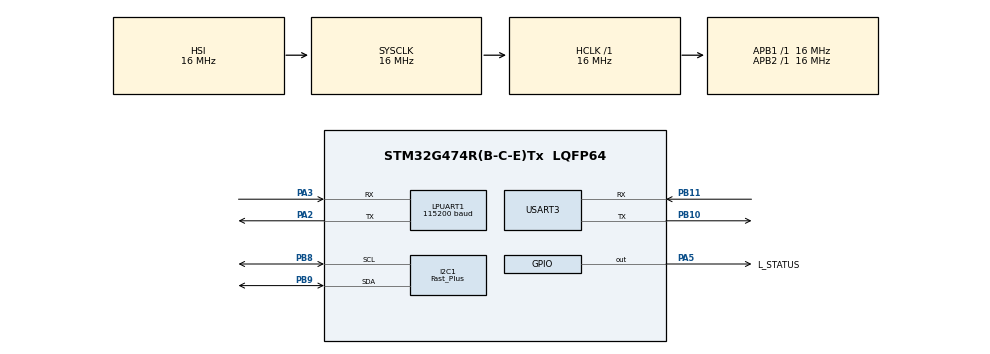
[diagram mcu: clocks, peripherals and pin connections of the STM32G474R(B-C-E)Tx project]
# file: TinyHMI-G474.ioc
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Dma.Request0=USART3_RX
Dma.USART3_RX.0.Direction=DMA_PERIPH_TO_MEMORY
Dma.USART3_RX.0.EventEnable=DISABLE
Dma.USART3_RX.0.Instance=DMA1_Channel1
Dma.USART3_RX.0.MemDataAlignment=DMA_MDATAALIGN_BYTE
Dma.USART3_RX.0.MemInc=DMA_MINC_ENABLE
Dma.USART3_RX.0.Mode=DMA_NORMAL
Dma.USART3_RX.0.PeriphDataAlignment=DMA_PDATAALIGN_BYTE
Dma.USART3_RX.0.PeriphInc=DMA_PINC_DISABLE
Dma.USART3_RX.0.Polarity=HAL_DMAMUX_REQ_GEN_RISING
Dma.USART3_RX.0.Priority=DMA_PRIORITY_LOW
Dma.USART3_RX.0.RequestNumber=1
Dma.USART3_RX.0.SignalID=NONE
Dma.USART3_RX.0.SyncEnable=DISABLE
Dma.USART3_RX.0.SyncPolarity=HAL_DMAMUX_SYNC_NO_EVENT
Dma.USART3_RX.0.SyncRequestNumber=1
Dma.USART3_RX.0.SyncSignalID=NONE
I2C1.I2C_Speed_Mode=I2C_Fast_Plus
I2C1.Timing=0x00200105
LPUART1.BaudRate=115200
Mcu.Family=STM32G4
Mcu.Name=STM32G474R(B-C-E)Tx
Mcu.Package=LQFP64
NVIC.DMA1_Channel1_IRQn=true\:0\:0\:false\:false\:true\:false\:true\:true
NVIC.PriorityGroup=NVIC_PRIORITYGROUP_4
NVIC.USART3_IRQn=true\:0\:0\:false\:false\:true\:true\:true\:true
PA2.Mode=Asynchronous
PA2.Signal=LPUART1_TX
PA3.Mode=Asynchronous
PA3.Signal=LPUART1_RX
PA5.GPIO_Label=L_STATUS
PA5.Signal=GPIO_Output
PB10.Mode=Asynchronous
PB10.Signal=USART3_TX
PB11.Mode=Asynchronous
PB11.Signal=USART3_RX
PB8-BOOT0.Mode=I2C
PB8-BOOT0.Signal=I2C1_SCL
PB9.Mode=I2C
PB9.Signal=I2C1_SDA
ProjectManager.HeapSize=0x200
ProjectManager.StackSize=0x400
ProjectManager.TargetToolchain=STM32CubeIDE
RCC.AHBFreq_Value=16000000
RCC.APB1Freq_Value=16000000
RCC.APB1TimFreq_Value=16000000
RCC.APB2Freq_Value=16000000
RCC.APB2TimFreq_Value=16000000
RCC.CortexFreq_Value=16000000
RCC.EXTERNAL_CLOCK_VALUE=12288000
RCC.HCLKFreq_Value=16000000
RCC.HSE_VALUE=8000000
RCC.HSI48_VALUE=48000000
RCC.HSI_VALUE=16000000
RCC.LSE_VALUE=32768
RCC.SYSCLKFreq_VALUE=16000000
RCC.USBFreq_Value=64000000
RCC.VCOOutputFreq_Value=128000000
USART3.VirtualMode-Asynchronous=VM_ASYNC
VP_SYS_VS_DBSignals.Mode=DisableDeadBatterySignals
board=custom

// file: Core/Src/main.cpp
/* USER CODE BEGIN Header */
/**
  ******************************************************************************
  * @file           : main.c
  * @brief          : Main program body
  ******************************************************************************
  * @attention
  *
  * Copyright (c) 2026 STMicroelectronics.
  * All rights reserved.
  *
  * This software is licensed under terms that can be found in the LICENSE file
  * in the root directory of this software component.
  * If no LICENSE file comes with this software, it is provided AS-IS.
  *
  ******************************************************************************
  */
/* USER CODE END Header */
#include "main.h"
#include "dma.h"
#include "i2c.h"
#include "usart.h"
#include "gpio.h"

/* USER CODE BEGIN Includes */
#include "stdio.h"
#include "fsm_logic.h"
#include "led.h"
/* USER CODE END Includes */

/* USER CODE BEGIN PV */
led_t L_STATUS;
/* USER CODE END PV */

void SystemClock_Config(void);

int main(void)
{

  /* MCU Configuration--------------------------------------------------------*/

  /* Reset of all peripherals, Initializes the Flash interface and the Systick. */
  HAL_Init();

  /* Configure the system clock */
  SystemClock_Config();

  /* Initialize all configured peripherals */
  MX_GPIO_Init();
  MX_DMA_Init();
  MX_LPUART1_UART_Init();
  MX_USART3_UART_Init();
  MX_I2C1_Init();
  /* USER CODE BEGIN 2 */
  setvbuf(stdout, NULL, _IONBF, 0);
  if(led_init(&L_STATUS, L_STATUS_GPIO_Port, L_STATUS_Pin, (led_state_t)LED_INIT_STATE_OFF) != LED_OK) return -1;
  if(FSM_init(&L_STATUS) != FSM_OK) return -1;;
  /* USER CODE END 2 */

  /* Infinite loop */
  while (1)
  {

    /* USER CODE BEGIN 3 */
    FSM_step();
  }
  /* USER CODE END 3 */
}

void SystemClock_Config(void)
{
  RCC_OscInitTypeDef RCC_OscInitStruct = {0};
  RCC_ClkInitTypeDef RCC_ClkInitStruct = {0};

  /** Configure the main internal regulator output voltage
  */
  HAL_PWREx_ControlVoltageScaling(PWR_REGULATOR_VOLTAGE_SCALE1);

  /** Initializes the RCC Oscillators according to the specified parameters
  * in the RCC_OscInitTypeDef structure.
  */
  RCC_OscInitStruct.OscillatorType = RCC_OSCILLATORTYPE_HSI;
  RCC_OscInitStruct.HSIState = RCC_HSI_ON;
  RCC_OscInitStruct.HSICalibrationValue = RCC_HSICALIBRATION_DEFAULT;
  RCC_OscInitStruct.PLL.PLLState = RCC_PLL_NONE;
  if (HAL_RCC_OscConfig(&RCC_OscInitStruct) != HAL_OK)
  {
    Error_Handler();
  }

  /** Initializes the CPU, AHB and APB buses clocks
  */
  RCC_ClkInitStruct.ClockType = RCC_CLOCKTYPE_HCLK|RCC_CLOCKTYPE_SYSCLK
                              |RCC_CLOCKTYPE_PCLK1|RCC_CLOCKTYPE_PCLK2;
  RCC_ClkInitStruct.SYSCLKSource = RCC_SYSCLKSOURCE_HSI;
  RCC_ClkInitStruct.AHBCLKDivider = RCC_SYSCLK_DIV1;
  RCC_ClkInitStruct.APB1CLKDivider = RCC_HCLK_DIV1;
  RCC_ClkInitStruct.APB2CLKDivider = RCC_HCLK_DIV1;

  if (HAL_RCC_ClockConfig(&RCC_ClkInitStruct, FLASH_LATENCY_0) != HAL_OK)
  {
    Error_Handler();
  }
}

/* USER CODE BEGIN 4 */
#ifdef __cplusplus
extern "C" {
#endif

extern UART_HandleTypeDef hlpuart1;
int _write(int file, char *ptr, int len) {
    HAL_UART_Transmit(&hlpuart1, (uint8_t *)ptr, len, HAL_MAX_DELAY);
    return len;
}

#ifdef __cplusplus
}
#endif
/* USER CODE END 4 */

void Error_Handler(void)
{
  __disable_irq();
  while (1)
  {
  }
}
